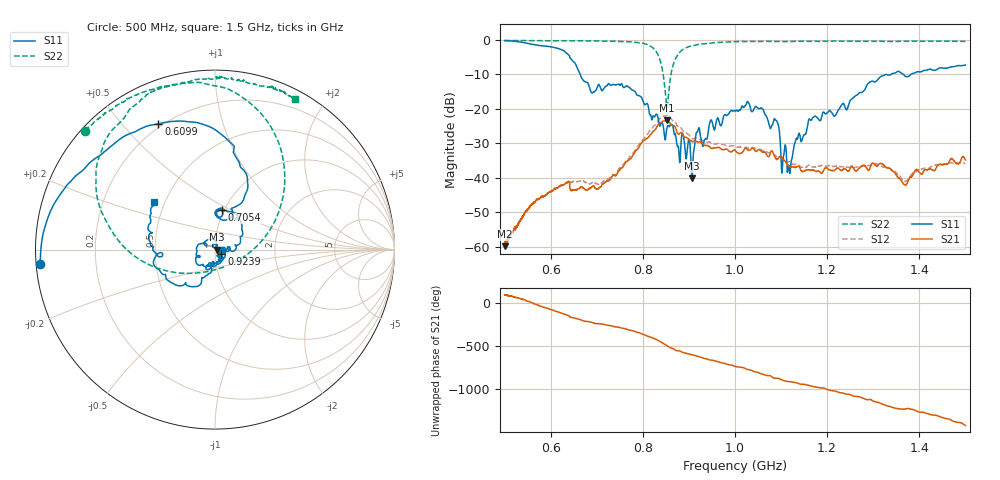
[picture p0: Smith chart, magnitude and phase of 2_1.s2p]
!Agilent Technologies,E8364B,US42250235,A.06.04.32
!Agilent E8364B: A.06.04.32
!Date: Thursday, October 01, 2020 14:22:28
!Correction: S11(Full 2 Port(1,2)) S21(Full 2 Port(1,2)) S12(Full 2 Port(1,2)) S22(Full 2 Port(1,2))
!S2P File: Measurements: S11, S21, S12, S22:
# Hz S  dB  R 50
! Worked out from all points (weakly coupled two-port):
!   2650 points, 500 MHz to 1.5 GHz, reference 50 ohm
!   highest |S21| = -23.26 dB at 853 MHz (marker M1); lowest = -59.8 dB at 500 MHz (marker M2)
!   lowest |S11| = -40.2 dB at 906.9 MHz (marker M3), VSWR 1.02, Z = 51 - j0.103 ohm
!   |S11| at or under -10 dB: 664.1 MHz to 1.339 GHz (674.6 MHz wide, 67.4 % of centre); 1.365 GHz to 1.382 GHz (16.43 MHz wide, 1.2 % of centre)
!   |S22| runs from -19.4 to -0.2 dB; largest |S21 - S12| = 0.017
!   S11 on the Smith chart (normalised r, x): 500 MHz: 0.01, -0.04; 609.9 MHz: 0.18, +0.63; 705.4 MHz: 0.97, +0.45; 923.9 MHz: 1.07, -0.06; 1.5 GHz: 0.44, +0.28
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5e8  -0.21 -175.4  -59.78 102.5  -59.08 101.6  -0.18 137.5
6.098528e8  -2.29 114.2  -43.14 -89.2  -42.94 -87.7  -0.26 125.2
6.408079e8  -4.62 79.8  -41.11 -148.4  -41.21 -145.2  -0.27 122.2
6.668554e8  -10.95 61.8  -42.66 165.3  -40.73 170.8  -0.25 119.9
7.053605e8  -13.05 80.4  -42.82 124.4  -41.90 124.2  -0.33 113.9
8.001133e8  -17.67 12.1  -29.36 0.1  -28.82 9.6  -0.98 84.6
8.337108e8  -23.12 -9.2  -24.51 -73.0  -23.37 -64.3  -4.56 49.2
8.529634e8  -25.20 11.1  -23.26 -132.9  -21.75 -124.7  -19.25 -81.7
8.741034e8  -30.30 -32.2  -26.77 169.0  -24.79 175.5  -4.68 169.9
9.06946e8  -40.16 -5.9  -29.49 120.9  -28.52 121.1  -1.69 142.1
9.178935e8  -26.74 -3.0  -29.56 104.5  -28.66 107.6  -1.38 136.7
9.239336e8  -26.99 -36.5  -29.54 95.6  -28.93 99.6  -1.24 134.0
1.000189e9  -20.61 -106.5  -31.98 -13.1  -30.86 -12.1  -0.50 113.8
1.027746e9  -17.88 -145.6  -31.90 -50.3  -31.32 -52.9  -0.47 110.9
1.088901e9  -23.28 129.9  -34.47 -152.5  -33.61 -151.7  -0.48 105.1
1.101737e9  -38.60 99.1  -33.99 -172.2  -33.95 -169.3  -0.48 103.3
1.117214e9  -36.90 44.4  -36.57 168.8  -35.24 173.3  -0.47 99.8
1.134579e9  -28.66 -36.1  -36.73 152.4  -36.12 151.7  -0.39 97.2
1.166667e9  -23.03 -80.9  -37.77 116.9  -36.79 115.6  -0.41 92.4
1.333522e9  -10.18 -152.6  -37.13 -117.1  -37.17 -116.2  -0.46 76.9
1.369385e9  -10.54 -176.5  -42.05 -150.9  -41.07 -152.6  -0.41 71.5
1.5e9  -7.30 142.2  -34.76 16.8  -35.91 22.7  -0.44 62.0
